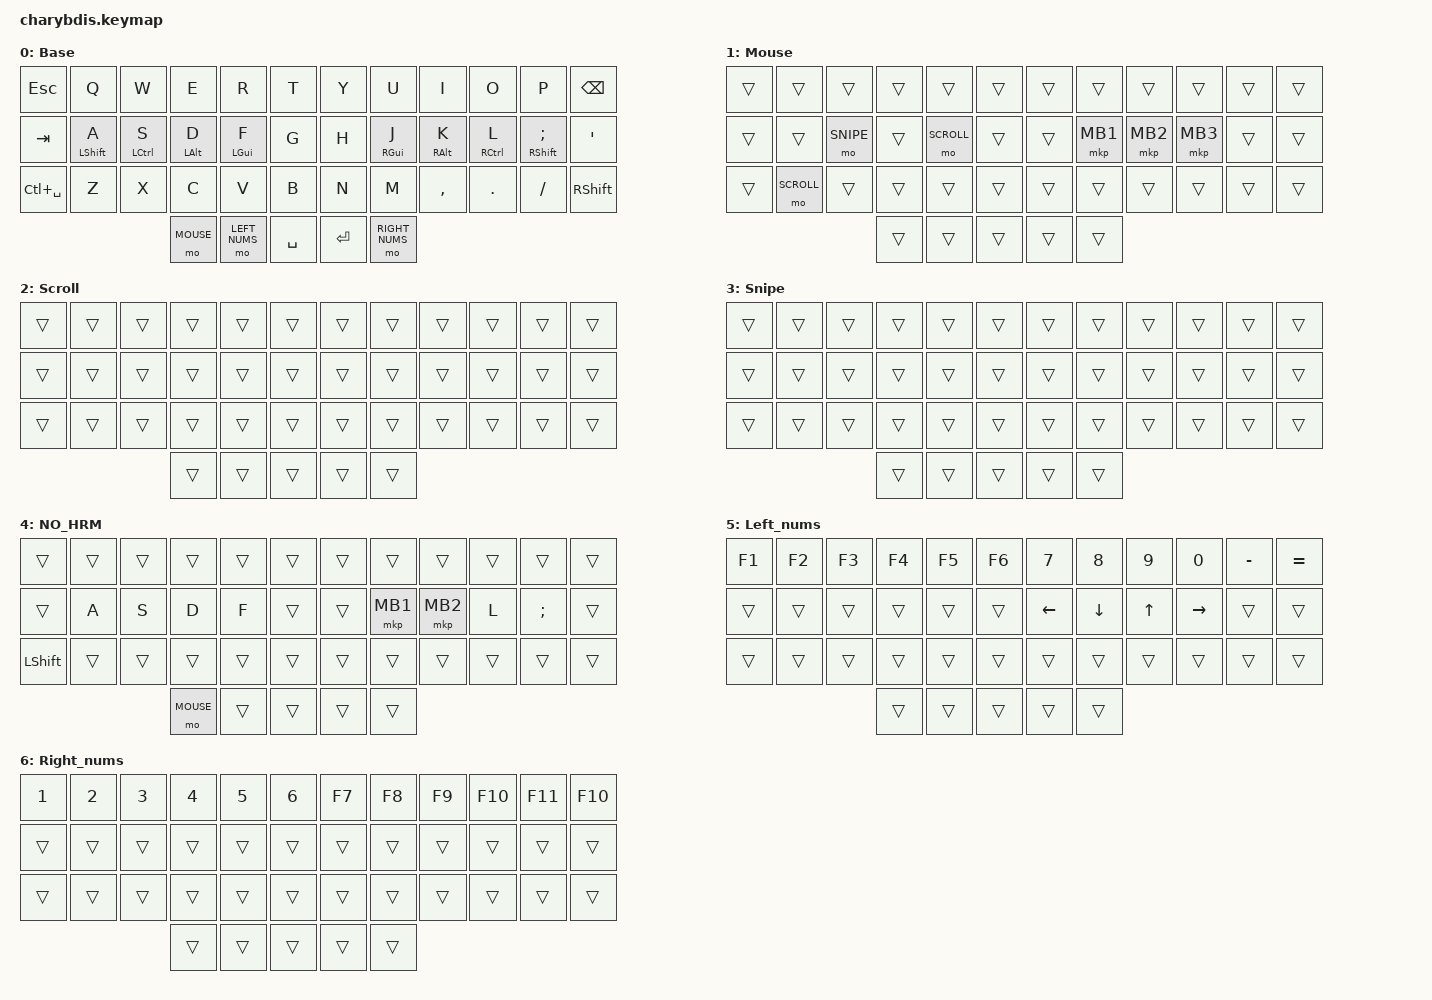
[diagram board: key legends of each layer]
#include <behaviors.dtsi>
#include <dt-bindings/zmk/keys.h>
#include <dt-bindings/zmk/pointing.h>

#define BASE 0
#define MOUSE 1
#define SCROLL 2
#define SNIPE 3
#define NO_HRM 4
#define LEFT_NUMS 5
#define RIGHT_NUMS 6

#define KEYS_L 0 1 2 3 4 10 11 12 13 14 20 21 22 23 24
#define KEYS_R 5 6 7 8 9 15 16 17 18 19 25 26 27 28 29
#define THUMBS 30 31 32 33 34 35

&sl {
  ignore-modifiers;
};

&caps_word {
  /delete-property/ ignore-modifiers;
};

/ {
  behaviors {
    hml: hml {
      compatible = "zmk,behavior-hold-tap";
      #binding-cells = <2>;
      flavor = "tap-preferred";
      tapping-term-ms = <200>;
      quick-tap-ms = <0>;
      require-prior-idle-ms = <80>;
      // hold-trigger-key-positions = <KEYS_R THUMBS>;
      hold-trigger-on-release;
      bindings =
        <&kp>,
        <&kp>;
    };

    hmr: hmr {
      compatible = "zmk,behavior-hold-tap";
      #binding-cells = <2>;
      flavor = "tap-preferred";
      tapping-term-ms = <200>;
      quick-tap-ms = <0>;
      require-prior-idle-ms = <80>;
      // hold-trigger-key-positions = <KEYS_L THUMBS>;
      hold-trigger-on-release;
      bindings =
        <&kp>,
        <&kp>;
    };
  };

  combos {
    compatible = "zmk,combos";
    timeout-ms = <20>;
    require-prior-idle-ms = <250>;

        combo_01 {
            timeout-ms = <30>;
            key-positions = <0 1>;
            bindings = <&kp GRAVE>;
        };

        combo_rt {
            timeout-ms = <30>;
            key-positions = <3 4>;
            bindings = <&kp LBKT>;
        };

        combo_yu {
            timeout-ms = <30>;
            key-positions = <7 8>;
            bindings = <&kp RBKT>;
        };

        combo_fg {
            timeout-ms = <30>;
            key-positions = <15 16>;
            bindings = <&kp LBRC>;
        };

        combo_hj {
            timeout-ms = <30>;
            key-positions = <19 20>;
            bindings = <&kp RBRC>;
        };

        combo_vb {
            timeout-ms = <30>;
            key-positions = <27 28>;
            bindings = <&kp PIPE>;
        };

        combo_nm {
            timeout-ms = <30>;
            key-positions = <31 32>;
            bindings = <&kp BSLH>;
        };

        combo_10_11 {
            timeout-ms = <30>;
            key-positions = <10 11>;
            bindings = <&kp DEL>;
        };

        combo_toggle_nohrm {
            timeout-ms = <30>;
            key-positions = <0 11>;
            bindings = <&to NO_HRM>;
        };

        combo_back_to_base {
            timeout-ms = <30>;
            key-positions = <1 10>;
            bindings = <&to BASE>;
        };
  };
  chosen {
    zmk,physical-layout = &charybdis_6col_layout;
  };

  keymap {
    compatible = "zmk,keymap";

    Base {
      display-name = "Base";
      bindings = <
        &kp ESCAPE      &kp Q           &kp W           &kp E           &kp R           &kp T               &kp Y       &kp U           &kp I           &kp O           &kp P               &kp BSPC
        &kp TAB         &hml LSHFT A    &hml LCTRL S    &hml LALT D     &hml LGUI F     &kp G               &kp H       &hmr RGUI J     &hmr RALT K     &hmr RCTRL L    &hmr RSHFT SEMI     &kp APOS
        &kp LC(SPACE)   &kp Z           &kp X           &kp C           &kp V           &kp B               &kp N       &kp M           &kp COMMA       &kp DOT         &kp FSLH            &kp RSHFT
                                                        &mo MOUSE       &mo LEFT_NUMS   &kp SPACE           &kp RET     &mo RIGHT_NUMS
      >;
    };

    Mouse {
      display-name = "Mouse";
      bindings = <
        &trans      &trans      &trans          &trans      &trans          &trans              &trans      &trans      &trans      &trans      &trans      &trans
        &trans      &trans      &mo SNIPE       &trans      &mo SCROLL      &trans              &trans      &mkp MB1    &mkp MB2    &mkp MB3    &trans      &trans
        &trans      &mo SCROLL  &trans          &trans      &trans          &trans              &trans      &trans      &trans      &trans      &trans      &trans
                                                &trans      &trans          &trans              &trans      &trans
      >;
    };

    Scroll {
      display-name = "Scroll";
      bindings = <
        &trans &trans &trans &trans &trans &trans   &trans &trans &trans &trans &trans &trans
        &trans &trans &trans &trans &trans &trans   &trans &trans &trans &trans &trans &trans
        &trans &trans &trans &trans &trans &trans   &trans &trans &trans &trans &trans &trans
                             &trans &trans &trans   &trans &trans
      >;
    };

    Snipe {
      display-name = "Snipe";
      bindings = <
        &trans &trans &trans &trans &trans &trans   &trans &trans &trans &trans &trans &trans
        &trans &trans &trans &trans &trans &trans   &trans &trans &trans &trans &trans &trans
        &trans &trans &trans &trans &trans &trans   &trans &trans &trans &trans &trans &trans
                             &trans &trans &trans   &trans &trans
      >;
    };

    NO_HRM {
      display-name = "NO_HRM";
      bindings = <
        &trans      &trans      &trans      &trans      &trans      &trans              &trans      &trans      &trans      &trans      &trans          &trans
        &trans      &kp A       &kp S       &kp D       &kp F       &trans              &trans      &mkp MB1    &mkp MB2    &kp L       &kp SEMI        &trans
        &kp LSHFT   &trans      &trans      &trans      &trans      &trans              &trans      &trans      &trans      &trans      &trans          &trans
                                            &mo MOUSE   &trans      &trans              &trans      &trans
      >;
    };

    L_nums {
      display-name = "Left_nums";
      bindings = <
        &kp F1      &kp F2      &kp F3      &kp F4      &kp F5      &kp F6              &kp N7      &kp N8      &kp N9      &kp N0      &kp MINUS       &kp EQUAL
        &trans      &trans      &trans      &trans      &trans      &trans              &kp LEFT    &kp DOWN    &kp UP      &kp RIGHT   &trans          &trans
        &trans      &trans      &trans      &trans      &trans      &trans              &trans      &trans      &trans      &trans      &trans          &trans
                                            &trans      &trans      &trans              &trans      &trans
      >;
    };

    R_nums {
      display-name = "Right_nums";
      bindings = <
        &kp N1      &kp N2      &kp N3      &kp N4      &kp N5      &kp N6              &kp F7      &kp F8      &kp F9      &kp F10     &kp F11         &kp F10
        &trans      &trans      &trans      &trans      &trans      &trans              &trans      &trans      &trans      &trans      &trans          &trans
        &trans      &trans      &trans      &trans      &trans      &trans              &trans      &trans      &trans      &trans      &trans          &trans
                                            &trans      &trans      &trans              &trans      &trans
      >;
    };
  };
};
